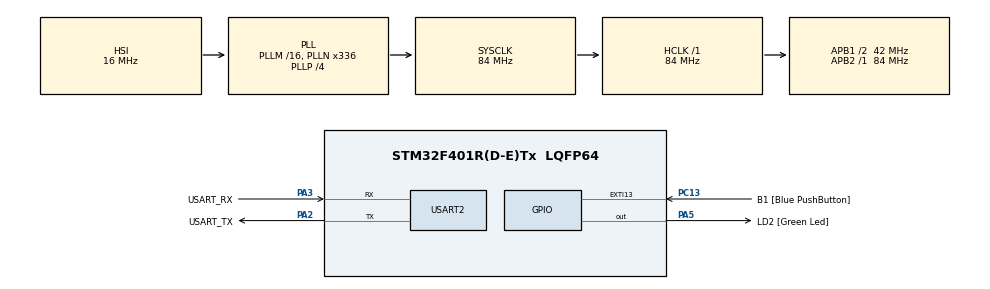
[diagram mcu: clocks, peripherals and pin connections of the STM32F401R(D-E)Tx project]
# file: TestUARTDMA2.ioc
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Dma.Request0=USART2_RX
Dma.Request1=USART2_TX
Dma.USART2_RX.0.Direction=DMA_PERIPH_TO_MEMORY
Dma.USART2_RX.0.FIFOMode=DMA_FIFOMODE_DISABLE
Dma.USART2_RX.0.Instance=DMA1_Stream5
Dma.USART2_RX.0.MemDataAlignment=DMA_MDATAALIGN_BYTE
Dma.USART2_RX.0.MemInc=DMA_MINC_ENABLE
Dma.USART2_RX.0.Mode=DMA_NORMAL
Dma.USART2_RX.0.PeriphDataAlignment=DMA_PDATAALIGN_BYTE
Dma.USART2_RX.0.PeriphInc=DMA_PINC_DISABLE
Dma.USART2_RX.0.Priority=DMA_PRIORITY_LOW
Dma.USART2_TX.1.Direction=DMA_MEMORY_TO_PERIPH
Dma.USART2_TX.1.FIFOMode=DMA_FIFOMODE_DISABLE
Dma.USART2_TX.1.Instance=DMA1_Stream6
Dma.USART2_TX.1.MemDataAlignment=DMA_MDATAALIGN_BYTE
Dma.USART2_TX.1.MemInc=DMA_MINC_ENABLE
Dma.USART2_TX.1.Mode=DMA_NORMAL
Dma.USART2_TX.1.PeriphDataAlignment=DMA_PDATAALIGN_BYTE
Dma.USART2_TX.1.PeriphInc=DMA_PINC_DISABLE
Dma.USART2_TX.1.Priority=DMA_PRIORITY_LOW
Mcu.Family=STM32F4
Mcu.Name=STM32F401R(D-E)Tx
Mcu.Package=LQFP64
NVIC.DMA1_Stream5_IRQn=true\:0\:0\:false\:false\:true\:false
NVIC.DMA1_Stream6_IRQn=true\:0\:0\:false\:false\:true\:false
NVIC.PriorityGroup=NVIC_PRIORITYGROUP_0
NVIC.USART2_IRQn=true\:0\:0\:false\:false\:true\:true
PA13.GPIO_Label=TMS
PA13.Mode=Serial_Wire
PA13.Signal=SYS_JTMS-SWDIO
PA14.GPIO_Label=TCK
PA14.Mode=Serial_Wire
PA14.Signal=SYS_JTCK-SWCLK
PA2.GPIO_Label=USART_TX
PA2.GPIO_Mode=GPIO_MODE_AF_PP
PA2.GPIO_PuPd=GPIO_NOPULL
PA2.GPIO_Speed=GPIO_SPEED_FREQ_LOW
PA2.Mode=Asynchronous
PA2.Signal=USART2_TX
PA3.GPIO_Label=USART_RX
PA3.GPIO_Mode=GPIO_MODE_AF_PP
PA3.GPIO_PuPd=GPIO_NOPULL
PA3.GPIO_Speed=GPIO_SPEED_FREQ_LOW
PA3.Mode=Asynchronous
PA3.Signal=USART2_RX
PA5.GPIO_Label=LD2 [Green Led]
PA5.GPIO_Mode=GPIO_MODE_OUTPUT_PP
PA5.GPIO_PuPd=GPIO_NOPULL
PA5.GPIO_Speed=GPIO_SPEED_FREQ_LOW
PA5.Signal=GPIO_Output
PB3.GPIO_Label=SWO
PB3.Signal=SYS_JTDO-SWO
PC13-ANTI_TAMP.GPIO_Label=B1 [Blue PushButton]
PC13-ANTI_TAMP.GPIO_ModeDefaultEXTI=GPIO_MODE_IT_FALLING
PC13-ANTI_TAMP.GPIO_PuPd=GPIO_NOPULL
PC13-ANTI_TAMP.Signal=GPXTI13
PC14-OSC32_IN.Mode=LSE-External-Oscillator
PC14-OSC32_IN.Signal=RCC_OSC32_IN
PC15-OSC32_OUT.Mode=LSE-External-Oscillator
PC15-OSC32_OUT.Signal=RCC_OSC32_OUT
PH0\ -\ OSC_IN.Mode=HSE-External-Clock-Source
PH0\ -\ OSC_IN.Signal=RCC_OSC_IN
PH1\ -\ OSC_OUT.Mode=HSE-External-Clock-Source
PH1\ -\ OSC_OUT.Signal=RCC_OSC_OUT
ProjectManager.HeapSize=0x200
ProjectManager.StackSize=0x400
ProjectManager.TargetToolchain=MDK-ARM V4
RCC.48MHZClocksFreq_Value=48000000
RCC.AHBFreq_Value=84000000
RCC.APB1CLKDivider=RCC_HCLK_DIV2
RCC.APB1Freq_Value=42000000
RCC.APB1TimFreq_Value=84000000
RCC.APB2Freq_Value=84000000
RCC.APB2TimFreq_Value=84000000
RCC.CortexFreq_Value=84000000
RCC.HCLKFreq_Value=84000000
RCC.HSE_VALUE=8000000
RCC.HSI_VALUE=16000000
RCC.PLLN=336
RCC.PLLP=RCC_PLLP_DIV4
RCC.PLLQ=7
RCC.SYSCLKFreq_VALUE=84000000
RCC.SYSCLKSource=RCC_SYSCLKSOURCE_PLLCLK
RCC.VCOOutputFreq_Value=336000000
USART2.VirtualMode=VM_ASYNC
board=NUCLEO-F401RE

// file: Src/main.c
/**
  ******************************************************************************
  * @file           : main.c
  * @brief          : Main program body
  ******************************************************************************
  ** This notice applies to any and all portions of this file
  * that are not between comment pairs USER CODE BEGIN and
  * USER CODE END. Other portions of this file, whether
  * inserted by the user or by software development tools
  * are owned by their respective copyright owners.
  *
  * COPYRIGHT(c) 2018 STMicroelectronics
  *
  * Redistribution and use in source and binary forms, with or without modification,
  * are permitted provided that the following conditions are met:
  *   1. Redistributions of source code must retain the above copyright notice,
  *      this list of conditions and the following disclaimer.
  *   2. Redistributions in binary form must reproduce the above copyright notice,
  *      this list of conditions and the following disclaimer in the documentation
  *      and/or other materials provided with the distribution.
  *   3. Neither the name of STMicroelectronics nor the names of its contributors
  *      may be used to endorse or promote products derived from this software
  *      without specific prior written permission.
  *
  * THIS SOFTWARE IS PROVIDED BY THE COPYRIGHT HOLDERS AND CONTRIBUTORS "AS IS"
  * AND ANY EXPRESS OR IMPLIED WARRANTIES, INCLUDING, BUT NOT LIMITED TO, THE
  * IMPLIED WARRANTIES OF MERCHANTABILITY AND FITNESS FOR A PARTICULAR PURPOSE ARE
  * DISCLAIMED. IN NO EVENT SHALL THE COPYRIGHT HOLDER OR CONTRIBUTORS BE LIABLE
  * FOR ANY DIRECT, INDIRECT, INCIDENTAL, SPECIAL, EXEMPLARY, OR CONSEQUENTIAL
  * DAMAGES (INCLUDING, BUT NOT LIMITED TO, PROCUREMENT OF SUBSTITUTE GOODS OR
  * SERVICES; LOSS OF USE, DATA, OR PROFITS; OR BUSINESS INTERRUPTION) HOWEVER
  * CAUSED AND ON ANY THEORY OF LIABILITY, WHETHER IN CONTRACT, STRICT LIABILITY,
  * OR TORT (INCLUDING NEGLIGENCE OR OTHERWISE) ARISING IN ANY WAY OUT OF THE USE
  * OF THIS SOFTWARE, EVEN IF ADVISED OF THE POSSIBILITY OF SUCH DAMAGE.
  *
  ******************************************************************************
  */
#include "main.h"
#include "stm32f4xx_hal.h"
#include "dma.h"
#include "usart.h"
#include "gpio.h"

/* USER CODE BEGIN Includes */
#define BUFFER_SIZE 128
/* USER CODE END Includes */

/* USER CODE BEGIN PV */
/* Private variables ---------------------------------------------------------*/
uint8_t rx_len=0;
uint8_t recv_end_flag=0;
uint8_t rx_buffer[128];
/* USER CODE END PV */

void SystemClock_Config(void);

/* USER CODE BEGIN PFP */
/* Private function prototypes -----------------------------------------------*/
#ifdef __GNUC__

  /* With GCC/RAISONANCE, small printf (option LD Linker->Libraries->Small printf
 set to 'Yes') calls __io_putchar() */
#define PUTCHAR_PROTOTYPE int __io_putchar(int ch)
#else

  #define PUTCHAR_PROTOTYPE int fputc(int ch, FILE *f)
#endif /* __GNUC__ */
/* USER CODE END PFP */

int main(void)
{

  /* MCU Configuration----------------------------------------------------------*/

  /* Reset of all peripherals, Initializes the Flash interface and the Systick. */
  HAL_Init();

  /* Configure the system clock */
  SystemClock_Config();

  /* Initialize all configured peripherals */
  MX_GPIO_Init();
  MX_DMA_Init();
  MX_USART2_UART_Init();
  /* USER CODE BEGIN 2 */
	printf("usart2 printf test OK!\r\n");
	HAL_UART_Receive_DMA(&huart2, UsartType1.usartDMA_rxBuf, RECEIVELEN);
	__HAL_UART_ENABLE_IT(&huart2, UART_IT_IDLE);
  /* USER CODE END 2 */

  /* Infinite loop */
  while (1)
  {

  /* USER CODE BEGIN 3 */
	if(UsartType1.receive_flag)//如果产生了空闲中断
		{
			UsartType1.receive_flag=0;//清零标记
			Usart1SendData_DMA(huart2,UsartType1.usartDMA_rxBuf,UsartType1.rx_len);//串口打印收到的数据。
	//		printf("\r\n");
		}

  }
  /* USER CODE END 3 */

}

void SystemClock_Config(void)
{

  RCC_OscInitTypeDef RCC_OscInitStruct;
  RCC_ClkInitTypeDef RCC_ClkInitStruct;

    /**Configure the main internal regulator output voltage
    */
  __HAL_RCC_PWR_CLK_ENABLE();

  __HAL_PWR_VOLTAGESCALING_CONFIG(PWR_REGULATOR_VOLTAGE_SCALE2);

    /**Initializes the CPU, AHB and APB busses clocks
    */
  RCC_OscInitStruct.OscillatorType = RCC_OSCILLATORTYPE_HSI;
  RCC_OscInitStruct.HSIState = RCC_HSI_ON;
  RCC_OscInitStruct.HSICalibrationValue = 16;
  RCC_OscInitStruct.PLL.PLLState = RCC_PLL_ON;
  RCC_OscInitStruct.PLL.PLLSource = RCC_PLLSOURCE_HSI;
  RCC_OscInitStruct.PLL.PLLM = 16;
  RCC_OscInitStruct.PLL.PLLN = 336;
  RCC_OscInitStruct.PLL.PLLP = RCC_PLLP_DIV4;
  RCC_OscInitStruct.PLL.PLLQ = 7;
  if (HAL_RCC_OscConfig(&RCC_OscInitStruct) != HAL_OK)
  {
    _Error_Handler(__FILE__, __LINE__);
  }

    /**Initializes the CPU, AHB and APB busses clocks
    */
  RCC_ClkInitStruct.ClockType = RCC_CLOCKTYPE_HCLK|RCC_CLOCKTYPE_SYSCLK
                              |RCC_CLOCKTYPE_PCLK1|RCC_CLOCKTYPE_PCLK2;
  RCC_ClkInitStruct.SYSCLKSource = RCC_SYSCLKSOURCE_PLLCLK;
  RCC_ClkInitStruct.AHBCLKDivider = RCC_SYSCLK_DIV1;
  RCC_ClkInitStruct.APB1CLKDivider = RCC_HCLK_DIV2;
  RCC_ClkInitStruct.APB2CLKDivider = RCC_HCLK_DIV1;

  if (HAL_RCC_ClockConfig(&RCC_ClkInitStruct, FLASH_LATENCY_2) != HAL_OK)
  {
    _Error_Handler(__FILE__, __LINE__);
  }

    /**Configure the Systick interrupt time
    */
  HAL_SYSTICK_Config(HAL_RCC_GetHCLKFreq()/1000);

    /**Configure the Systick
    */
  HAL_SYSTICK_CLKSourceConfig(SYSTICK_CLKSOURCE_HCLK);

  /* SysTick_IRQn interrupt configuration */
  HAL_NVIC_SetPriority(SysTick_IRQn, 0, 0);
}

/* USER CODE BEGIN 4 */
PUTCHAR_PROTOTYPE
{
HAL_UART_Transmit(&huart2 , (uint8_t *)&ch, 1, 0xFFFF);
return ch;
}
/* USER CODE END 4 */

void _Error_Handler(char *file, int line)
{
  while(1)
  {
  }
}

/************************ (C) COPYRIGHT STMicroelectronics *****END OF FILE****/
